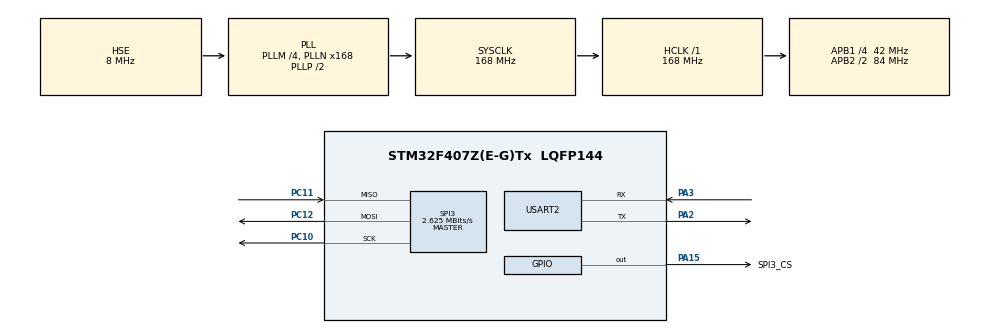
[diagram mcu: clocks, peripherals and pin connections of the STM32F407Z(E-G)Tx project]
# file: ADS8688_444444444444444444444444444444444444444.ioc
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Mcu.Family=STM32F4
RCC.PLLSourceVirtual=RCC_PLLSOURCE_HSE
PH0-OSC_IN.Signal=RCC_OSC_IN
RCC.CortexFreq_Value=168000000
SPI3.Direction=SPI_DIRECTION_2LINES
SPI3.VirtualType=VM_MASTER
PC12.Signal=SPI3_MOSI
PC11.Signal=SPI3_MISO
PC10.Signal=SPI3_SCK
PC10.Mode=Full_Duplex_Master
RCC.APB1CLKDivider=RCC_HCLK_DIV4
RCC.SYSCLKSource=RCC_SYSCLKSOURCE_PLLCLK
ProjectManager.StackSize=0x400
PA13.Signal=SYS_JTMS-SWDIO
PA3.Mode=Asynchronous
PA15.GPIO_Label=SPI3_CS
ProjectManager.TargetToolchain=STM32CubeIDE
RCC.HCLKFreq_Value=168000000
RCC.APB2TimFreq_Value=168000000
RCC.LSE_VALUE=32768
RCC.AHBFreq_Value=168000000
PH0-OSC_IN.Mode=HSE-External-Oscillator
SPI3.DataSize=SPI_DATASIZE_16BIT
RCC.HSE_VALUE=8000000
PC12.Mode=Full_Duplex_Master
board=custom
SPI3.CLKPhase=SPI_PHASE_2EDGE
RCC.VCOOutputFreq_Value=336000000
PA15.PinState=GPIO_PIN_SET
RCC.APB2Freq_Value=84000000
SPI3.CalculateBaudRate=2.625 MBits/s
PA14.Mode=Serial_Wire
SPI3.BaudRatePrescaler=SPI_BAUDRATEPRESCALER_16
PH1-OSC_OUT.Signal=RCC_OSC_OUT
PA13.Mode=Serial_Wire
Mcu.Name=STM32F407Z(E-G)Tx
PA2.Signal=USART2_TX
PH1-OSC_OUT.Mode=HSE-External-Oscillator
RCC.48MHZClocksFreq_Value=84000000
RCC.SYSCLKFreq_VALUE=168000000
Mcu.Package=LQFP144
SPI3.Mode=SPI_MODE_MASTER
USART2.VirtualMode=VM_ASYNC
PA15.GPIO_Speed=GPIO_SPEED_FREQ_VERY_HIGH
PA14.Signal=SYS_JTCK-SWCLK
PA15.Signal=GPIO_Output
ProjectManager.HeapSize=0x200
PC11.Mode=Full_Duplex_Master
RCC.HSI_VALUE=16000000
NVIC.PriorityGroup=NVIC_PRIORITYGROUP_4
RCC.APB2CLKDivider=RCC_HCLK_DIV2
RCC.PLLM=4
RCC.PLLN=168
PA15.GPIO_PuPd=GPIO_PULLUP
RCC.APB1TimFreq_Value=84000000
PA2.Mode=Asynchronous
RCC.APB1Freq_Value=42000000
PA3.Signal=USART2_RX

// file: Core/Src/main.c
/* USER CODE BEGIN Header */
/**
  ******************************************************************************
  * @file           : main.c
  * @brief          : Main program body
  ******************************************************************************
  * @attention
  *
  * <h2><center>&copy; Copyright (c) 2021 STMicroelectronics.
  * All rights reserved.</center></h2>
  *
  * This software component is licensed by ST under BSD 3-Clause license,
  * the "License"; You may not use this file except in compliance with the
  * License. You may obtain a copy of the License at:
  *                        opensource.org/licenses/BSD-3-Clause
  *
  ******************************************************************************
  */
/* USER CODE END Header */
#include "main.h"
#include "ADS8688.h"
#include "stdio.h"

/* USER CODE BEGIN PTD */
#define default_interval 500

// macro and pattern to print binary numbers
#define BYTE_TO_BIN_PAT "%c%c%c%c%c%c%c%c"
#define BYTE_TO_BIN(byte)		\
	(byte & 0x80 ? '1' : '0'),	\
	(byte & 0x40 ? '1' : '0'),	\
	(byte & 0x20 ? '1' : '0'),	\
	(byte & 0x10 ? '1' : '0'),	\
	(byte & 0x08 ? '1' : '0'),	\
	(byte & 0x04 ? '1' : '0'),	\
	(byte & 0x02 ? '1' : '0'),	\
	(byte & 0x01 ? '1' : '0')

/* USER CODE END PTD */

SPI_HandleTypeDef hspi3;

UART_HandleTypeDef huart2;

/* USER CODE BEGIN PV */
SPI_HandleTypeDef hspi3;

UART_HandleTypeDef huart2;

/* USER CODE BEGIN PV */
char buf[100];
int count=0;
// Timing Variables
unsigned int current=0, previous=0, interval=default_interval;

// ADS variables
ADS8688 ads;
uint16_t ads_data[8];
float volt_helper = 0;
int volt[8] = {0};
/* USER CODE END PV */

void SystemClock_Config(void);
static void MX_GPIO_Init(void);
static void MX_SPI3_Init(void);
static void MX_USART2_UART_Init(void);
/* USER CODE BEGIN PFP */
void print(char *msg, ...);
/* USER CODE END PFP */

int main(void)
{

  /* MCU Configuration--------------------------------------------------------*/

  /* Reset of all peripherals, Initializes the Flash interface and the Systick. */
  HAL_Init();

  /* USER CODE BEGIN Init */
  HAL_Delay(200);
  /* USER CODE END Init */

  /* Configure the system clock */
  SystemClock_Config();

  /* Initialize all configured peripherals */
  MX_GPIO_Init();
  MX_SPI3_Init();
  MX_USART2_UART_Init();

  /* USER CODE BEGIN 2 */

  ADS8688_Init(&ads, &hspi3, SPI3_CS_GPIO_Port, SPI3_CS_Pin);
  /* USER CODE END 2 */

  /* Infinite loop */
  /* USER CODE BEGIN WHILE */
  while (1)
  {
	  //current = HAL_GetTick();
	      /* USER CODE END WHILE */

	      /* USER CODE BEGIN 3 */
	  ADS_Read_All_Raw(&ads, ads_data);
	  		  for(int i=0; i<2; i++) {
	  			  if(i==0){
	  				  volt[i] = (((float)(ads_data[i]+3))*10.24/65535.0)-5.12;
	  			  }
	  			  else{
	  				  volt[i] = (((float)(ads_data[i]))*10.24/65535.0)-5.12;
	  			  }
	  			  //printf("CHN_%d: %u %u    "BYTE_TO_BIN_PAT" "BYTE_TO_BIN_PAT"  %f\n", i, (uint16_t)(ads_data[0]), (uint16_t)(ads_data[1]) ,  BYTE_TO_BIN(ads_data[1]), BYTE_TO_BIN(ads_data[0]), volt[i]);
	  			  HAL_UART_Transmit(&huart2, (uint8_t *)ads_data, 4, 5);
	  }
	  HAL_Delay(200);
  /* USER CODE END 3 */
  }
}
void SystemClock_Config(void)
{
  RCC_OscInitTypeDef RCC_OscInitStruct = {0};
  RCC_ClkInitTypeDef RCC_ClkInitStruct = {0};

  /** Configure the main internal regulator output voltage
  */
  __HAL_RCC_PWR_CLK_ENABLE();
  __HAL_PWR_VOLTAGESCALING_CONFIG(PWR_REGULATOR_VOLTAGE_SCALE1);
  /** Initializes the RCC Oscillators according to the specified parameters
  * in the RCC_OscInitTypeDef structure.
  */
  RCC_OscInitStruct.OscillatorType = RCC_OSCILLATORTYPE_HSE;
  RCC_OscInitStruct.HSEState = RCC_HSE_ON;
  RCC_OscInitStruct.PLL.PLLState = RCC_PLL_ON;
  RCC_OscInitStruct.PLL.PLLSource = RCC_PLLSOURCE_HSE;
  RCC_OscInitStruct.PLL.PLLM = 4;
  RCC_OscInitStruct.PLL.PLLN = 168;
  RCC_OscInitStruct.PLL.PLLP = RCC_PLLP_DIV2;
  RCC_OscInitStruct.PLL.PLLQ = 4;
  if (HAL_RCC_OscConfig(&RCC_OscInitStruct) != HAL_OK)
  {
    Error_Handler();
  }
  /** Initializes the CPU, AHB and APB buses clocks
  */
  RCC_ClkInitStruct.ClockType = RCC_CLOCKTYPE_HCLK|RCC_CLOCKTYPE_SYSCLK
                              |RCC_CLOCKTYPE_PCLK1|RCC_CLOCKTYPE_PCLK2;
  RCC_ClkInitStruct.SYSCLKSource = RCC_SYSCLKSOURCE_PLLCLK;
  RCC_ClkInitStruct.AHBCLKDivider = RCC_SYSCLK_DIV1;
  RCC_ClkInitStruct.APB1CLKDivider = RCC_HCLK_DIV4;
  RCC_ClkInitStruct.APB2CLKDivider = RCC_HCLK_DIV2;

  if (HAL_RCC_ClockConfig(&RCC_ClkInitStruct, FLASH_LATENCY_5) != HAL_OK)
  {
    Error_Handler();
  }
}

static void MX_SPI3_Init(void)
{

  /* SPI3 parameter configuration*/
  hspi3.Instance = SPI3;
  hspi3.Init.Mode = SPI_MODE_MASTER;
  hspi3.Init.Direction = SPI_DIRECTION_2LINES;
  hspi3.Init.DataSize = SPI_DATASIZE_16BIT;
  hspi3.Init.CLKPolarity = SPI_POLARITY_LOW;
  hspi3.Init.CLKPhase = SPI_PHASE_2EDGE;
  hspi3.Init.NSS = SPI_NSS_SOFT;
  hspi3.Init.BaudRatePrescaler = SPI_BAUDRATEPRESCALER_16;
  hspi3.Init.FirstBit = SPI_FIRSTBIT_MSB;
  hspi3.Init.TIMode = SPI_TIMODE_DISABLE;
  hspi3.Init.CRCCalculation = SPI_CRCCALCULATION_DISABLE;
  hspi3.Init.CRCPolynomial = 10;
  if (HAL_SPI_Init(&hspi3) != HAL_OK)
  {
    Error_Handler();
  }

}

static void MX_USART2_UART_Init(void)
{

  huart2.Instance = USART2;
  huart2.Init.BaudRate = 115200;
  huart2.Init.WordLength = UART_WORDLENGTH_8B;
  huart2.Init.StopBits = UART_STOPBITS_1;
  huart2.Init.Parity = UART_PARITY_NONE;
  huart2.Init.Mode = UART_MODE_TX_RX;
  huart2.Init.HwFlowCtl = UART_HWCONTROL_NONE;
  huart2.Init.OverSampling = UART_OVERSAMPLING_16;
  if (HAL_UART_Init(&huart2) != HAL_OK)
  {
    Error_Handler();
  }

}

static void MX_GPIO_Init(void)
{
  GPIO_InitTypeDef GPIO_InitStruct = {0};

  /* GPIO Ports Clock Enable */
  __HAL_RCC_GPIOH_CLK_ENABLE();
  __HAL_RCC_GPIOA_CLK_ENABLE();
  __HAL_RCC_GPIOC_CLK_ENABLE();

  /*Configure GPIO pin Output Level */
  HAL_GPIO_WritePin(SPI3_CS_GPIO_Port, SPI3_CS_Pin, GPIO_PIN_SET);

  /*Configure GPIO pin : SPI3_CS_Pin */
  GPIO_InitStruct.Pin = SPI3_CS_Pin;
  GPIO_InitStruct.Mode = GPIO_MODE_OUTPUT_PP;
  GPIO_InitStruct.Pull = GPIO_PULLUP;
  GPIO_InitStruct.Speed = GPIO_SPEED_FREQ_VERY_HIGH;
  HAL_GPIO_Init(SPI3_CS_GPIO_Port, &GPIO_InitStruct);

}

/* USER CODE BEGIN 4 */
void print(char *msg, ...) {
#if USB_DEBUG
	char buff[100];
	va_list args;
	va_start(args, msg);
	vsprintf(buff,msg,args);
	HAL_UART_Transmit(&huart2, (uint8_t *)buff, strlen(buff), 10);
#endif
}
/* USER CODE END 4 */

void Error_Handler(void)
{
  __disable_irq();
  while (1)
  {
  }
}

/************************ (C) COPYRIGHT STMicroelectronics *****END OF FILE****/
